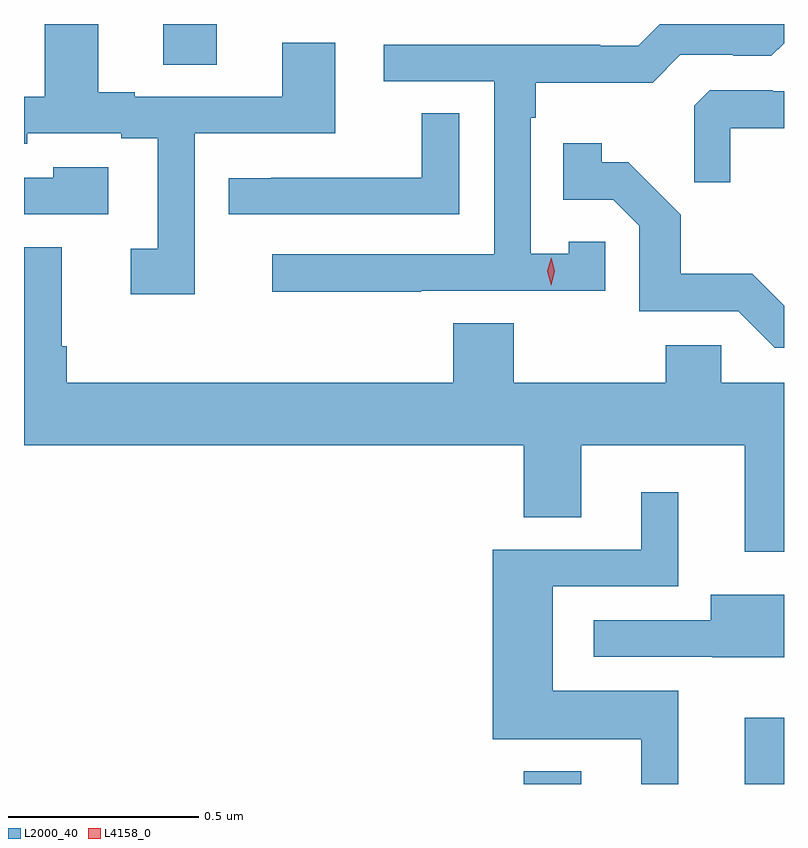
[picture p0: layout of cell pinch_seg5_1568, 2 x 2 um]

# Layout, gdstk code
import gdstk
lib = gdstk.Library(unit=1e-6, precision=1e-09)
def R(c, l, rs):  # rectangles x0, y0, x1, y1
    for r in rs: c.add(gdstk.rectangle(r[:2], r[2:], *l))
def P(c, l, *ps):  # polygons
    for p in ps: c.add(gdstk.Polygon(p, *l))
L2000_40 = (2000, 40)
L4158_0 = (4158, 0)

pinch_seg5_1568 = lib.new_cell('pinch_seg5_1568')
R(pinch_seg5_1568, L2000_40, [(326.159,858.532,326.311,858.565), (326.741,858.532,326.844,858.706), (325.211,860.425,325.351,860.532)])
P(pinch_seg5_1568, L2000_40, [(325.889,859.83),(326.373,859.83),(326.373,859.959),(326.277,859.959),(326.277,859.927),(326.178,859.927),(326.178,860.285),(326.191,860.285),(326.191,860.378),(326.498,860.378),(326.571,860.451),(326.71,860.451),(326.71,860.448),(326.811,860.448),(326.844,860.481),(326.844,860.532),(326.517,860.532),(326.46,860.475),(326.36,860.475),(326.36,860.478),(325.791,860.478),(325.791,860.382),(326.082,860.382),(326.082,859.926),(325.497,859.926),(325.497,859.828),(325.889,859.828)],
  [(325.293,860.244),(325.663,860.244),(325.663,860.483),(325.523,860.483),(325.523,860.34),(325.135,860.34),(325.135,860.353),(325.039,860.353),(325.039,860.532),(324.899,860.532),(324.899,860.34),(324.844,860.34),(324.844,860.217),(324.852,860.217),(324.852,860.244),(325.1,860.244),(325.1,860.232),(325.196,860.232),(325.196,859.941),(325.125,859.941),(325.125,859.821),(325.293,859.821)],
  [(326.702,860.258),(326.844,860.258),(326.844,860.355),(326.814,860.355),(326.814,860.358),(326.649,860.358),(326.608,860.317),(326.608,860.115),(326.702,860.115)],
  [(325.989,860.297),(325.891,860.297),(325.891,860.127),(325.495,860.127),(325.495,860.126),(325.383,860.126),(325.383,860.031),(325.989,860.031)],
  [(326.844,859.791),(326.761,859.875),(326.572,859.875),(326.572,860.03),(326.434,860.168),(326.364,860.168),(326.364,860.218),(326.263,860.218),(326.263,860.07),(326.394,860.07),(326.463,860.001),(326.463,859.776),(326.724,859.776),(326.82,859.68),(326.844,859.68)],
  [(325.066,860.155),(324.921,860.155),(324.921,860.127),(324.844,860.127),(324.844,860.031),(325.066,860.031)],
  [(326.844,859.588),(326.679,859.588),(326.679,859.686),(326.533,859.686),(326.533,859.588),(326.133,859.588),(326.133,859.745),(325.973,859.745),(325.973,859.588),(324.956,859.588),(324.956,859.684),(324.943,859.684),(324.943,859.945),(324.844,859.945),(324.844,859.424),(326.159,859.424),(326.159,859.234),(326.311,859.234),(326.311,859.424),(326.741,859.424),(326.741,859.143),(326.844,859.143)],
  [(326.566,858.778),(326.236,858.778),(326.236,859.053),(326.566,859.053),(326.566,859.3),(326.468,859.3),(326.468,859.149),(326.078,859.149),(326.078,858.65),(326.468,858.65),(326.468,858.532),(326.566,858.532)],
  [(326.844,859.03),(326.651,859.03),(326.651,858.963),(326.343,858.963),(326.343,858.867),(326.655,858.867),(326.655,858.866),(326.844,858.866)])
P(pinch_seg5_1568, L4158_0, [(326.231,859.845),(326.231,859.845),(326.221,859.881),(326.231,859.917),(326.231,859.917),(326.231,859.917),(326.241,859.881),(326.231,859.845)])

lib.write_gds('pinch_seg5_1568.gds')
